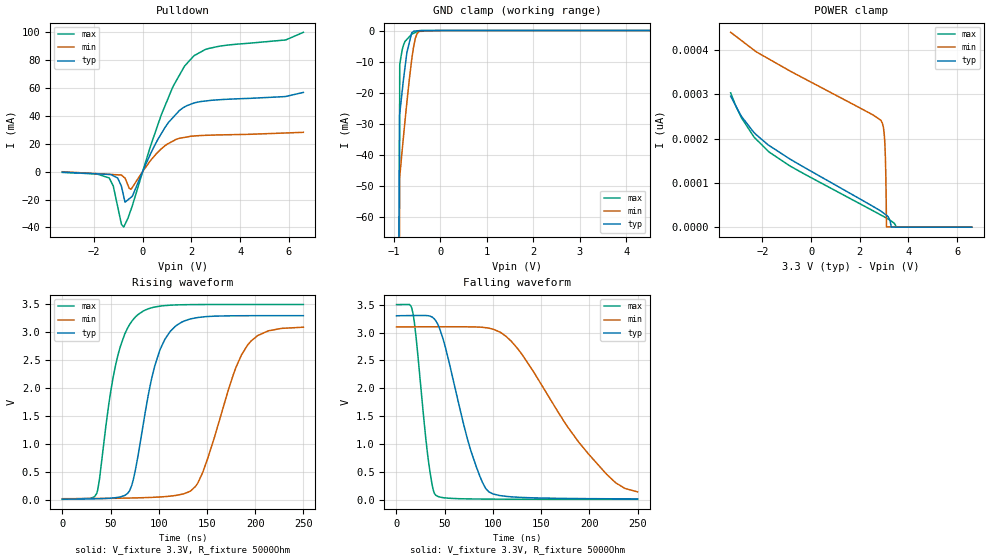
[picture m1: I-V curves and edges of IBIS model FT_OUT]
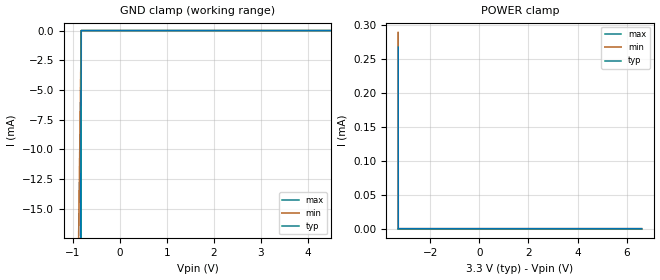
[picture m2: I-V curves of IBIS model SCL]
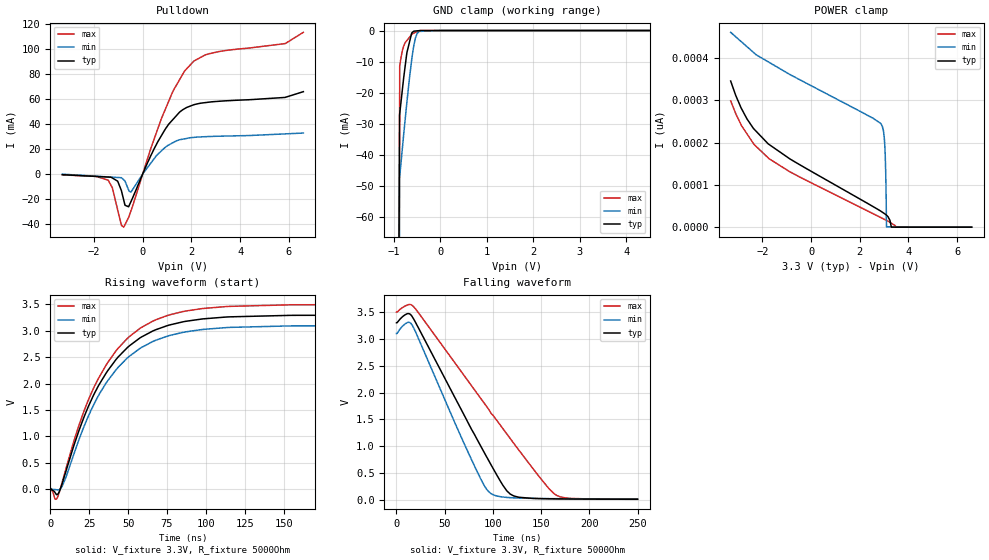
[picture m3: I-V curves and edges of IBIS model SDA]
|IBIS File - Generated by SIMDE
|http://www.iometh.com/Product/SIMDE
[IBIS ver]   3.2
[File name]   ds1340.ibs
[File Rev]   1.0
[Date]   2011/08/02 01:47:53 PM Tuesday
[Source]   Put originator and the source of information here.
[Notes]   Use this section for any special notes related to the file.
[Disclaimer]   This information is for modeling purposes only, and is not
guara
   nteed.
[Copyright]   All Rights Reserved
|   Component DS1340
[Component]   DS1340
[Manufacturer]  IO Methodology.
[Package]
| variable   typ   min   max
R_pkg   0m   0m   0m
L_pkg   0n   0n   0n
C_pkg   0m   0m   0m
|-------------------------PIN------------------------------------------------
[Pin]  signal_name   model_name   R_pin   L_pin   C_pin
1   X1   NC
2   X2   NC
3   VBACKUP   POWER
4   GND   GND
5   SDA   SDA   0   0   0
6   SCL   SCL   0   0   0
7   FT_OUT   FT_OUT   0   0   0
8   VCC   POWER
| Models and submodels in the file (3): FT_OUT (Open_drain), SCL (Input), SDA (Open_drain)
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[Model]   FT_OUT
Model_type   Open_drain
Polarity   Inverting
Vmeas = 1.65
Vref = 1.65
Cref = 15pF
Rref = 50
|   typ   min   max
C_comp   1.278e-11   6.893e-12   2.161e-11
|C_comp (ON state)   1.278e-11   6.893e-12   2.161e-11
|C_comp (OFF state)   3.081e-12   3.206e-12   2.927e-12
[Voltage Range]   3.3   3.1   3.5
[Temperature Range]   25   85   -40
[Pullup Reference]   3.3   3.1   3.5
[Pulldown Reference]   0   0   0
[Power Clamp Reference]   3.3   3.1   3.5
[GND Clamp Reference]   0   0   0
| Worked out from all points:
|   slope of the pulldown table from 0 to 0.495 V, typ, clamps not added: 26.4 ohm
|   GND clamp passes 1 mA (typ) near -0.62 V on its own axis
|   falling waveform, V_fixture 3.3V, R_fixture 5000Ohm: 20-80 % time 29.2ns typ, 69.6ns min, 12.1ns max; typ from 3.3 V to 0.02 V
|   rising waveform, V_fixture 3.3V, R_fixture 5000Ohm: 20-80 % time 23.1ns typ, 34.2ns min, 20.4ns max; typ from 0.016 V to 3.3 V
[Pulldown]
|   Voltage   I(typ)   I(min)   I(max)
-3.3V     -400uA     -107.9uA   -597.7uA
-1.375V   -2.055mA   -1.984mA   -4.572mA
-1.208V   -3.011mA   -2.147mA   -10.31mA
-1.026V   -4.626mA   -2.324mA   -25.12mA
-871.5mV  -10.61mA   -2.495mA   -37.78mA
-780.5mV  -17.66mA   -3.86mA    -39.78mA
-726mV    -21.89mA   -4.679mA   -37.8mA
-477.4mV  -18.41mA   -12.62mA   -27.06mA
766.5mV   27.18mA    16.29mA    40.66mA
1.256V    38.91mA    21.95mA    61.18mA
2.111V    49.09mA    25.48mA    82.96mA
6.6V      56.67mA    28.09mA    99.67mA
[GND Clamp]
|   Voltage   I(typ)   I(min)   I(max)
-3.3V     -3.438kA   -14.13A    -7.424kA
-2.408V   -4.946A    -8.954A    -9.309A
-874.5mV  -27.2mA    -49.23mA   -29.3mA
-874.2mV  -27.15mA   -47.49mA   -27.48mA
-871.5mV  -26.79mA   -47.06mA   -11.15mA
-843.5mV  -22.97mA   -42.61mA   -8.339mA
-791mV    -15.81mA   -34.25mA   -4.698mA
-716.1mV  -7.027mA   -22.93mA   -2.846mA
-613.8mV  -764.8uA   -9.39mA    -1.199mA
-574.2mV  -256.6uA   -5.359mA   -888uA
-455.7mV  -47.06uA   -285.3uA   -90.8uA
6.6V      0A         0A         0A
[POWER Clamp]
|   Voltage   I(typ)   I(min)   I(max)
-3.3V     296.1pA    440.5pA    303.5pA
-2.853V   250.1pA    421.7pA    246.9pA
-1.726V   184.7pA    380pA      170pA
2.864V    36.57pA    241.8pA    27.63pA
2.973V    32.03pA    225.7pA    24.39pA
3.032V    29.56pA    190.1pA    22.63pA
3.072V    27.88pA    117.5pA    21.4pA
3.088V    27.23pA    63.24pA    20.92pA
3.1V      26.71pA    728fA      20.54pA
3.3V      40.48fA    613.4fA    13.52pA
3.5V      0A         498.9fA    19.22fA
6.6V      0A         0A         0A
[Ramp]
R_load = 5000
|   typ   min   max
dV/dt_r   1.97054/2.30423e-08   1.84223/3.3977e-08   2.09288/2.0238e-08
dV/dt_f   1.96797/2.90369e-08   1.77257/6.93566e-08   2.09279/1.20914e-08
[Falling Waveform]
V_fixture = 3.3V
V_fixture_min = 3.1V
V_fixture_max = 3.5V
R_fixture = 5000Ohm
C_fixture = 0F
|   Time   V(typ)   V(min)   V(max)
0s        3.3V       3.1V       3.5V
16.83ns   3.304V     3.101V     3.366V
32.05ns   3.302V     3.102V     847.7mV
40.83ns   3.209V     3.103V     84.29mV
50.45ns   2.752V     3.103V     37.06mV
77.1ns    883.6mV    3.101V     19.06mV
95.73ns   146.2mV    3.078V     15.96mV
126.1ns   49.26mV    2.703V     13.79mV
217.9ns   22.3mV     461.3mV    12.15mV
250ns     20.05mV    145.7mV    12.01mV
[Rising Waveform]
V_fixture = 3.3V
V_fixture_min = 3.1V
V_fixture_max = 3.5V
R_fixture = 5000Ohm
C_fixture = 0F
|   Time   V(typ)   V(min)   V(max)
0s        15.74mV    23.15mV    11.86mV
35.72ns   22.35mV    26.78mV    119.8mV
55.43ns   41.67mV    30.81mV    2.43V
69.55ns   159.4mV    34.97mV    3.135V
78ns      742mV      38.51mV    3.313V
95.77ns   2.394V     49.13mV    3.455V
117.6ns   3.115V     81.31mV    3.492V
140.7ns   3.267V     307.5mV    3.499V
192.1ns   3.299V     2.772V     3.5V
250ns     3.3V       3.094V     3.5V
[Model]   SCL
Model_type   Input
Vinl = 0.99
Vinh = 2.31
|   typ   min   max
C_comp   2.380e-12   2.460e-12   2.275e-12
|C_comp (ON state)   2.380e-12   2.460e-12   2.275e-12
|C_comp (OFF state)   2.380e-12   2.460e-12   2.275e-12
[Voltage Range]   3.3   3.1   3.5
[Temperature Range]   25   85   -40
[Power Clamp Reference]   3.3   3.1   3.5
[GND Clamp Reference]   0   0   0
[GND Clamp]
|   Voltage   I(typ)   I(min)   I(max)
-3.303V   -3.562kA   -78.12A    -7.423kA
-2.386V   -3.202A    -491.5mA   -6.747A
-825mV    0A         -597.3uA   -12.94mA
-823.1mV  0A         0A         -4.744mA
-822mV    0A         0A         0A
6.607V    0A         0A         0A
[POWER Clamp]
|   Voltage   I(typ)   I(min)   I(max)
-3.303V   268uA      289.6uA    0A
-3.303V   251.8uA    272.1uA    0A
-3.3V     0A         0A         0A
6.607V    0A         0A         0A
[Model]   SDA
Model_type   Open_drain
Polarity   Non-Inverting
Vmeas = 1.65
Vref = 1.65
Cref = 15pF
Rref = 50
|   typ   min   max
C_comp   8.928e-11   1.005e-10   5.498e-11
|C_comp (ON state)   8.928e-11   1.005e-10   5.498e-11
|C_comp (OFF state)   4.880e-12   4.898e-12   4.949e-12
[Voltage Range]   3.3   3.1   3.5
[Temperature Range]   25   85   -40
[Pullup Reference]   3.3   3.1   3.5
[Pulldown Reference]   0   0   0
[Power Clamp Reference]   3.3   3.1   3.5
[GND Clamp Reference]   0   0   0
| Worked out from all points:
|   slope of the pulldown table from 0 to 0.495 V, typ, clamps not added: 23.5 ohm
|   GND clamp passes 1 mA (typ) near -0.62 V on its own axis
|   falling waveform, V_fixture 3.3V, R_fixture 5000Ohm: 20-80 % time 58.4ns typ, 45.5ns min, 85.7ns max; typ from 3.3 V to 0.016 V
|   rising waveform, V_fixture 3.3V, R_fixture 5000Ohm: 20-80 % time 34.7ns typ, 34.6ns min, 34.6ns max; typ from 0.014 V to 3.3 V
[Pulldown]
|   Voltage   I(typ)   I(min)   I(max)
-3.3V     -500uA     -115.8uA   -697.5uA
-1.417V   -2.418mA   -2.296mA   -4.884mA
-1.25V    -3.108mA   -2.491mA   -10.83mA
-1.026V   -5.712mA   -2.749mA   -28.68mA
-777mV    -20.92mA   -4.615mA   -42.46mA
-577.5mV  -26.17mA   -12.75mA   -34.68mA
-483.6mV  -22.13mA   -14.39mA   -29.55mA
617.1mV   25.65mA    15.71mA    35.98mA
1.722V    52.27mA    28.16mA    82.37mA
2.562V    57.08mA    29.87mA    95.17mA
5.856V    61.3mA     32.1mA     104.3mA
6.6V      65.85mA    32.77mA    113.3mA
[GND Clamp]
|   Voltage   I(typ)   I(min)   I(max)
-3.3V     -3.438kA   -14.13A    -7.424kA
-2.408V   -4.946A    -8.954A    -9.309A
-874.5mV  -27.22mA   -49.24mA   -29.59mA
-874.2mV  -27.18mA   -47.49mA   -27.78mA
-871.5mV  -26.81mA   -47.06mA   -11.44mA
-843.5mV  -23mA      -42.61mA   -8.707mA
-787.5mV  -15.39mA   -33.72mA   -5.045mA
-716.1mV  -7.07mA    -22.93mA   -3.183mA
-613.8mV  -799.2uA   -9.391mA   -1.275mA
-574.2mV  -274.6uA   -5.36mA    -888.4uA
-455.7mV  -47.87uA   -285.6uA   -70.68uA
6.6V      0A         0A         0A
[POWER Clamp]
|   Voltage   I(typ)   I(min)   I(max)
-3.3V     345.4pA    460.5pA    298.5pA
-2.63V    255.9pA    426.6pA    220.7pA
-1.759V   196.9pA    390.8pA    163.7pA
2.868V    37.79pA    244.8pA    22.72pA
2.97V     33.81pA    229.4pA    19.76pA
3.029V    31.52pA    195.4pA    18.04pA
3.069V    29.95pA    127.2pA    16.86pA
3.084V    29.1pA     76.6pA     16.41pA
3.1V      28.24pA    731.8fA    15.96pA
3.3V      40.8fA     616.7fA    9.3pA
3.5V      0A         501.5fA    9.545fA
6.6V      0A         0A         0A
[Ramp]
R_load = 5000
|   typ   min   max
dV/dt_r   1.9715/3.45835e-08   1.84777/3.46442e-08   2.09336/3.45033e-08
dV/dt_f   1.97039/5.84168e-08   1.84708/4.55651e-08   2.09148/8.56181e-08
[Falling Waveform]
V_fixture = 3.3V
V_fixture_min = 3.1V
V_fixture_max = 3.5V
R_fixture = 5000Ohm
C_fixture = 0F
|   Time   V(typ)   V(min)   V(max)
0s        3.3V       3.1V       3.5V
10.82ns   3.466V     3.301V     3.627V
16.23ns   3.416V     3.258V     3.625V
80.32ns   1.239V     656.8mV    2.066V
91.28ns   877mV      262.6mV    1.796V
97.98ns   659.9mV    122.4mV    1.619V
114.4ns   172.8mV    49.87mV    1.232V
121.5ns   77.96mV    41.78mV    1.059V
166.2ns   22.3mV     26.3mV     86.29mV
250ns     16.01mV    21.53mV    14.2mV
[Rising Waveform]
V_fixture = 3.3V
V_fixture_min = 3.1V
V_fixture_max = 3.5V
R_fixture = 5000Ohm
C_fixture = 0F
|   Time   V(typ)   V(min)   V(max)
0s        14.07mV    20.28mV    10.96mV
3.225ns   -74.12mV   -10.56mV   -194.5mV
4.775ns   -99.36mV   -15.94mV   -147.3mV
10.07ns   338.2mV    222.2mV    387.5mV
21.15ns   1.324V     1.147V     1.437V
35.68ns   2.188V     2.002V     2.34V
49.53ns   2.682V     2.485V     2.856V
65.82ns   2.996V     2.797V     3.183V
113.2ns   3.263V     3.062V     3.461V
250ns     3.3V       3.1V       3.5V
